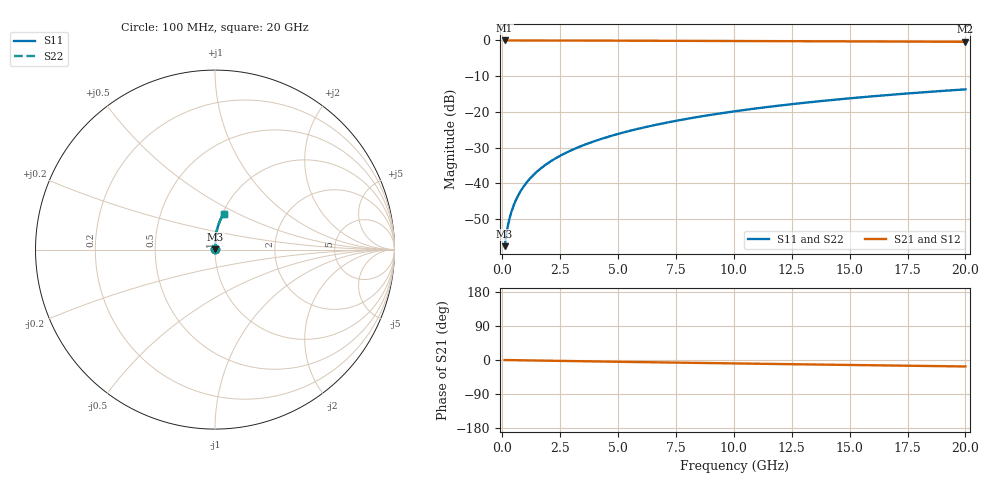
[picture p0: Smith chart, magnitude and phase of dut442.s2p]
! Touchstone file exported from HFSS 2024.1.0
!  File:  C:/UserFiles/LocalFiles/RDL_TSV_Batchsim/temp_RDL_bottom_442_1779684744.aedt
!  Generated:  12:55:10 PM May 25, 2026
!  Design:  RDL_bottom
!  Project:  temp_RDL_bottom_442_1779684744
!  Setup:  Setup1
!  Solution:  Sweep
! Variables:
!  dtsv = 10.80580581um
!  hbump = 3um
!  htsv = 98.52um
!  ldown = 187.47um
!  lrdl = 100um
!  p = 40
!  p1 = 58.19um
!  rhole = 1um
!  t = 450um
!  tdown = 4.97um
!  trdl = 3.915915916um
!  wdown = 19.28um
!  wrdl = 20um
# GHz S MA R 50.000000
! Terminal data exported
! Port[1] = RDL1_T1
! Port[2] = RDL1_T2
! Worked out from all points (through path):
!   200 points, 100 MHz to 20 GHz, reference 50 ohm
!   highest |S21| = -0.01 dB at 100 MHz (marker M1); lowest = -0.4 dB at 20 GHz (marker M2)
!   group delay of S21, straight-line fit = 2.35 ps
!   lowest |S11| = -57.6 dB at 100 MHz (marker M3), VSWR 1.00, Z = 50.1 + j0.101 ohm
!   |S11| at or under -10 dB: start of sweep to end of sweep
!   |S22| runs from -57.6 to -13.7 dB; largest |S21 - S12| = 7.5e-15
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0.1  0.001312 50.5  0.9992 -0.1  0.9992 -0.1  0.001312 50.5
! Gamma 0 0 0 0
! Port Impedance 50 0 50 0
0.2  0.00218 66.5  0.9991 -0.2  0.9991 -0.2  0.00218 66.5
0.3  0.003099 73.1  0.9991 -0.3  0.9991 -0.3  0.003099 73.1
0.4  0.004031 76.7  0.999 -0.4  0.999 -0.4  0.004031 76.7
0.5  0.004971 79.1  0.999 -0.5  0.999 -0.5  0.004971 79.1
0.7  0.006866 81.9  0.9989 -0.7  0.9989 -0.7  0.006866 81.9
0.8  0.007819 82.9  0.9988 -0.8  0.9988 -0.8  0.007819 82.9
1  0.009732 84.2  0.9987 -1.0  0.9987 -1.0  0.009732 84.2
1.2  0.01165 85.0  0.9986 -1.2  0.9986 -1.2  0.01165 85.0
1.4  0.01358 85.6  0.9984 -1.4  0.9984 -1.4  0.01358 85.6
1.7  0.01647 86.3  0.9982 -1.6  0.9982 -1.6  0.01647 86.3
2  0.01937 86.7  0.9979 -1.9  0.9979 -1.9  0.01937 86.7
2.7  0.02618 87.3  0.997 -2.6  0.997 -2.6  0.02618 87.3
3.5  0.03403 87.5  0.9957 -3.3  0.9957 -3.3  0.03403 87.5
4.2  0.04098 87.6  0.9945 -4.0  0.9945 -4.0  0.04098 87.6
5  0.04902 87.5  0.993 -4.7  0.993 -4.7  0.04902 87.5
6.8  0.06748 86.9  0.9891 -6.3  0.9891 -6.3  0.06748 86.9
8.4  0.08427 86.1  0.9855 -7.7  0.9855 -7.7  0.08427 86.1
10.1  0.1023 84.9  0.9815 -9.1  0.9815 -9.1  0.1023 84.9
13.4  0.1376 82.3  0.9736 -11.8  0.9736 -11.8  0.1376 82.3
16.7  0.1724 79.4  0.9654 -14.5  0.9654 -14.5  0.1724 79.4
20  0.2064 76.6  0.9567 -17.1  0.9567 -17.1  0.2064 76.6
